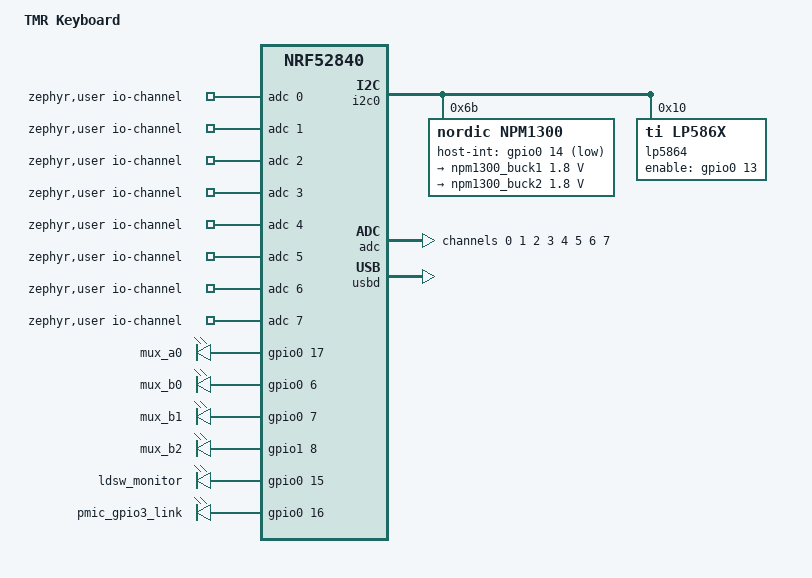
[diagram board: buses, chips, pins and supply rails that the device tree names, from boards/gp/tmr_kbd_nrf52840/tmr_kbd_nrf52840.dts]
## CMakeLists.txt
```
# > west build -b tmr_kbd_nrf52840
# > west flash

# 1. Minimum version of CMake required for Zephyr
cmake_minimum_required(VERSION 3.20.0)

# 2. Tell Zephyr where to find your custom board folder
# This allows the 'boards' directory in your project to be discovered
list(APPEND BOARD_ROOT ${CMAKE_CURRENT_SOURCE_DIR})

# 3. Find the Zephyr package (this loads the build system)
find_package(Zephyr REQUIRED HINTS $ENV{ZEPHYR_BASE})

# 4. Define your project
project(tmr_keyboard)

# 5. Add your source files
# Add main.c and any other .c files you've created (like mux_logic.c)
target_sources(app PRIVATE
    src/main.c
)
```

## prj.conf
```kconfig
# --- 1. General Settings ---
CONFIG_GPIO=y
CONFIG_SERIAL=y

# --- 2. Debugging (RTT instead of UART) ---
CONFIG_USE_SEGGER_RTT=y
CONFIG_RTT_CONSOLE=y
CONFIG_UART_CONSOLE=n
# Enable the shell over RTT for testing I2C/ADC manually
CONFIG_SHELL=y
CONFIG_SHELL_BACKEND_RTT=y

# --- 3. Analog Sensing (TMR Sensors) ---
CONFIG_ADC=y
CONFIG_ADC_NRFX_SAADC=y

# --- 4. I2C Bus (nPM1300 & LP5864) ---
CONFIG_I2C=y
CONFIG_I2C_NRFX=y

# --- 5. Power Management (nPM1300) ---
CONFIG_NRF_FUEL_GAUGE=y
CONFIG_MFD=y
CONFIG_NPM1300=y
CONFIG_REGULATOR=y
CONFIG_REGULATOR_NPM1300=y
# Enable charger support for battery monitoring via I2C
CONFIG_CHARGER=y

# --- 6. LED Support (LP5864) ---
CONFIG_LED=y
# Note: If you write manual I2C code for LP5864, you don't strictly need
# a specific LED driver config yet, but keeping LED=y helps for future drivers.

# --- 7. Zephyr Next Gen USB Support (For the Keyboard) ---
# CONFIG_USB_DEVICE_STACK_NEXT=y
# CONFIG_USBD_HID_SUPPORT=y

# CONFIG_LOG=y
# CONFIG_USBD_LOG_LEVEL_INF=y
# CONFIG_USBD_HID_LOG_LEVEL_WRN=y
# CONFIG_UDC_DRIVER_LOG_LEVEL_WRN=y
# CONFIG_SAMPLE_USBD_PID=0x0007
# CONFIG_SAMPLE_USBD_REMOTE_WAKEUP=y

# CONFIG_INPUT=y
# CONFIG_INPUT_MODE_SYNCHRONOUS=y
```

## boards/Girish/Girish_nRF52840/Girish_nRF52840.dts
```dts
/dts-v1/;
#include <nordic/nrf52840_qiaa.dtsi>
#include "Girish_nRF52840-pinctrl.dtsi"

/ {
	model = "TMR Keyboard";
	compatible = "Girish,Girish-nRF52840";

	chosen {
		zephyr,sram = &sram0;
		zephyr,flash = &flash0;
		zephyr,code-partition = &slot0_partition;
	};
};

&flash0 {
	partitions {
		compatible = "fixed-partitions";
		#address-cells = <1>;
		#size-cells = <1>;

		boot_partition: partition@0 {
			label = "mcuboot";
			reg = <0x00000000 DT_SIZE_K(48)>;
		};

		slot0_partition: partition@c000 {
			label = "image-0";
			reg = <0x0000c000 DT_SIZE_K(472)>;
		};

		slot1_partition: partition@82000 {
			label = "image-1";
			reg = <0x00082000 DT_SIZE_K(472)>;
		};

		storage_partition: partition@f8000 {
			label = "storage";
			reg = <0x000f8000 DT_SIZE_K(32)>;
		};
	};
};
```

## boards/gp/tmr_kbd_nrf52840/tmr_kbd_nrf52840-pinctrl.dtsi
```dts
/* TMR Keyboard Custom Pinctrl */

&pinctrl {
	i2c0_default: i2c0_default {
		group1 {
			psels = <NRF_PSEL(TWIM_SDA, 0, 12)>,
				<NRF_PSEL(TWIM_SCL, 0, 11)>;
			bias-pull-up; /* Internal pull-ups as backup to physical ones */
		};
	};

	i2c0_sleep: i2c0_sleep {
		group1 {
			psels = <NRF_PSEL(TWIM_SDA, 0, 12)>,
				<NRF_PSEL(TWIM_SCL, 0, 11)>;
			low-power-enable;
		};
	};
};
```

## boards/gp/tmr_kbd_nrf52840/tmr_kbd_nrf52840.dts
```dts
/dts-v1/;

#include <nordic/nrf52840_qiaa.dtsi>
#include <nordic/nrf52840_partition.dtsi>
#include "tmr_kbd_nrf52840-pinctrl.dtsi"
#include <dt-bindings/regulator/npm13xx.h>
/* Include keycode definitions */
#include <zephyr/dt-bindings/input/input-event-codes.h>

/ {
	model = "TMR Keyboard";
	compatible = "gp,tmr-kbd-nrf52840";

	chosen {
		/* Redirect console to Seggar RTT to save pins */
		zephyr,console = &snippet_rtt;
		zephyr,shell-uart = &snippet_rtt;
		zephyr,uart-mcumgr = &snippet_rtt;
	};

	/* Virtual RTT console node */
	snippet_rtt: snippet_rtt {
		compatible = "segger,rtt-uart";
	};
};

/ {
	/* Expose ADC inputs to application */
	zephyr,user {
		io-channels =
			<&adc 0>, /* ADC device, channel 0 */
			<&adc 1>,
			<&adc 2>,
			<&adc 3>,
			<&adc 4>,
			<&adc 5>,
			<&adc 6>,
			<&adc 7>;
	};

	/* This allows ADC to be referred as: DT_ALIAS(adc0), instead of knowing the full path */
	aliases {
		adc0 = &adc;
	};

	/* Define MUX control pins as a new group */
	mux_control {
		compatible = "gpio-leds"; /* generic gpio driver */
		mux_a0: mux_a0 {
			gpios = <&gpio0 17 GPIO_ACTIVE_HIGH>;
		};
		mux_b0: mux_b0 {
			gpios = <&gpio0 6 GPIO_ACTIVE_HIGH>;
		};
		mux_b1: mux_b1 {
			gpios = <&gpio0 7 GPIO_ACTIVE_HIGH>;
		};
		mux_b2: mux_b2 {
			gpios = <&gpio1 8 GPIO_ACTIVE_HIGH>;
		};
	};
};

/* Define the physical GPIO connection for the MUX-style signal if needed */
/ {
	npm_pins {
		compatible = "gpio-leds";
		/* P0.15 is physically wired to the output of LDSW1/GPIO2 */
		ldsw_monitor: ldsw_monitor {
			gpios = <&gpio0 15 GPIO_ACTIVE_HIGH>;
		};
		/* P0.16 is connected to GPIO3 of nPM1300 */
		pmic_gpio3_link: pmic_gpio3_link {
			gpios = <&gpio0 16 GPIO_ACTIVE_HIGH>;
		};
	};
};

/* Configure the I2C0 Bus and Peripherals */
&i2c0 {
	status = "okay";
	pinctrl-0 = <&i2c0_default>;
	pinctrl-1 = <&i2c0_sleep>;
	pinctrl-names = "default", "sleep";
	/* clock-frequency = <I2C_BITRATE_FAST>; */

	/* npm1300: pmic@48 { */
	npm1300: pmic@6b {
		compatible = "nordic,npm1300";
		reg = <0x6b>;
		/* INT (GPIO1) of nPM1300 connected to P0.14 */
		host-int-gpios = <&gpio0 14 GPIO_ACTIVE_LOW>;
		/* host-int-gpios = <&gpio0 14 GPIO_ACTIVE_HIGH>; */
		pmic-int-pin = <1>;

		npm1300_gpio: gpio-controller {
			compatible = "nordic,npm1300-gpio";
			gpio-controller;
			#gpio-cells = <2>;
			ngpios = <5>;
		};

		npm1300_regulators: regulators {
			compatible = "nordic,npm1300-regulator";

			/* Main MCU Power - Stays on, 1.8v*/
			npm1300_buck1: BUCK1 {
				regulator-min-microvolt = <1800000>;
				regulator-max-microvolt = <1800000>;
				regulator-boot-on;
				regulator-always-on;
			};

			/* TMR Sensor Power Source, 1.8v */
			npm1300_buck2: BUCK2 {
				regulator-min-microvolt = <1800000>;
				regulator-max-microvolt = <1800000>;
				regulator-always-on;
				regulator-boot-on;
			};

			/* The Load Switch (LDO1) controlled by GPIO2 */
			npm1300_ldsw1: LDO1 {
				regulator-initial-mode = <NPM13XX_LDSW_MODE_LDSW>;
				regulator-allowed-modes = <NPM13XX_LDSW_MODE_LDSW>;
				/* Link to GPIO2 internally */
				enable-gpio-config = <2 GPIO_ACTIVE_HIGH>;
				regulator-boot-off;
			};

			npm1300_ldsw2: LDO2 {
				status = "disabled";
			};
		};

		npm1300_charger: charger {
			compatible = "nordic,npm1300-charger";
			term-microvolt = <4150000>;     /* 4.15V max charge */
			term-warm-microvolt = <4000000>;
			current-microamp = <150000>;    /* 150mA default */
			dischg-limit-microamp = <1000000>;
			vbus-limit-microamp = <500000>;
			thermistor-ohms = <10000>;      /* Enabled NTC */
			thermistor-beta = <3380>;
			charging-enable;
		};
	};

	/* LED IC */
	lp5864: lp5864@10 {
		/* compatible = "i2c-device"; */
		compatible = "ti,lp586x"; /* Hypothetical binding name */
		reg = <0x10>;
		/* EN pin connected to P0.13 */
		enable-gpios = <&gpio0 13 GPIO_ACTIVE_HIGH>;
	};
};

/* Enable ADC for your TMR sensors */
&adc {
	#address-cells = <1>;
	#size-cells = <0>;
	status = "okay";

	channel@0 {
		reg = <0>;
		zephyr,gain = "ADC_GAIN_1";
		zephyr,reference = "ADC_REF_INTERNAL"; /* 0.6V internal ref */
		zephyr,acquisition-time = <ADC_ACQ_TIME_DEFAULT>;
		zephyr,input-positive = <NRF_SAADC_AIN0>; /* P0.02 */
		zephyr,resolution = <12>;
		/* optional oversampling: take 4 samples and average them (less noise, but adc stays on longer) */
		/* zephyr,oversampling = <4>; */
	};

	channel@1 {
		reg = <1>;
		zephyr,gain = "ADC_GAIN_1";
		zephyr,reference = "ADC_REF_INTERNAL";
		zephyr,acquisition-time = <ADC_ACQ_TIME_DEFAULT>;
		zephyr,input-positive = <NRF_SAADC_AIN1>; /* P0.03 */
		zephyr,resolution = <12>;
	};

	channel@2 {
		reg = <2>;
		zephyr,gain = "ADC_GAIN_1";
		zephyr,reference = "ADC_REF_INTERNAL";
		zephyr,acquisition-time = <ADC_ACQ_TIME_DEFAULT>;
		zephyr,input-positive = <NRF_SAADC_AIN2>; /* P0.04 */
		zephyr,resolution = <12>;
	};

	channel@3 {
		reg = <3>;
		zephyr,gain = "ADC_GAIN_1";
		zephyr,reference = "ADC_REF_INTERNAL";
		zephyr,acquisition-time = <ADC_ACQ_TIME_DEFAULT>;
		zephyr,input-positive = <NRF_SAADC_AIN3>; /* P0.05 */
		zephyr,resolution = <12>;
	};

	channel@4 {
		reg = <4>;
		zephyr,gain = "ADC_GAIN_1";
		zephyr,reference = "ADC_REF_INTERNAL";
		zephyr,acquisition-time = <ADC_ACQ_TIME_DEFAULT>;
		zephyr,input-positive = <NRF_SAADC_AIN4>; /* P0.28 */
		zephyr,resolution = <12>;
	};

	channel@5 {
		reg = <5>;
		zephyr,gain = "ADC_GAIN_1";
		zephyr,reference = "ADC_REF_INTERNAL";
		zephyr,acquisition-time = <ADC_ACQ_TIME_DEFAULT>;
		zephyr,input-positive = <NRF_SAADC_AIN5>; /* P0.29 */
		zephyr,resolution = <12>;
	};

	channel@6 {
		reg = <6>;
		zephyr,gain = "ADC_GAIN_1";
		zephyr,reference = "ADC_REF_INTERNAL";
		zephyr,acquisition-time = <ADC_ACQ_TIME_DEFAULT>;
		zephyr,input-positive = <NRF_SAADC_AIN6>; /* P0.30 */
		zephyr,resolution = <12>;
	};

	channel@7 {
		reg = <7>;
		zephyr,gain = "ADC_GAIN_1";
		zephyr,reference = "ADC_REF_INTERNAL";
		zephyr,acquisition-time = <ADC_ACQ_TIME_DEFAULT>;
		zephyr,input-positive = <NRF_SAADC_AIN7>; /* P0.31 */
		zephyr,resolution = <12>;
	};
};

/* Enable GPIO Ports */
&gpio0 {
	status = "okay";
};

&gpio1 {
	status = "okay";
};

/* Disable everything you aren't using to save power/resources */
&uart0 { status = "disabled"; };
&uart1 { status = "disabled"; };
&i2c1 { status = "disabled"; };
&spi0 { status = "disabled"; };
&spi1 { status = "disabled"; };
&spi2 { status = "disabled"; };
&pwm0 { status = "disabled"; };
&qspi { status = "disabled"; };

/* Keep USB enabled for the keyboard connection */
zephyr_udc0: &usbd {
	status = "okay";
};
```

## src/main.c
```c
#include <stdio.h>

/* GPIO specs for Bank A */
static const struct gpio_dt_spec mux_a[] = {
	GPIO_DT_SPEC_GET(DT_NODELABEL(mux_a0), gpios),
};

/* GPIO specs for Bank B */
static const struct gpio_dt_spec mux_b[] = {
	GPIO_DT_SPEC_GET(DT_NODELABEL(mux_b0), gpios),
	GPIO_DT_SPEC_GET(DT_NODELABEL(mux_b1), gpios),
	GPIO_DT_SPEC_GET(DT_NODELABEL(mux_b2), gpios),
};

void init_muxes(void) {
	gpio_pin_configure_dt(&mux_a[0], GPIO_OUTPUT_INACTIVE);
	for (int i = 0; i < 3; i++) {
		gpio_pin_configure_dt(&mux_b[i], GPIO_OUTPUT_INACTIVE);
	}
}

void set_bank_b_address(uint8_t addr) {
	for (int i = 0; i < 3; i++) {
		gpio_pin_set_dt(&mux_b[i], (addr >> i) & 1);
	}
}

int main(void)
{
	printf("Hello World! %s\n", CONFIG_BOARD_TARGET);

	return 0;
}

# if 0
Optimized C Code for 5ms Scanning
Since you're using enable-gpio-config = <2 ...>, the nPM1300 driver handles the GPIO2 work behind the scenes when you call the regulator API.

#include <zephyr/drivers/regulator.h>

const struct device *tmr_pwr = DEVICE_DT_GET(DT_NODELABEL(npm1300_ldsw1));

void scan_matrix(void) {
    // 1. Flip the switch (GPIO2 goes high internally)
    regulator_enable(tmr_pwr);

    // 2. Very short stabilization wait (Load switch is fast!)
    k_busy_wait(100); // 100 microseconds is usually plenty for LDSW

    // 3. Run your ADC scan logic
    read_all_tmr_sensors();

    // 4. Kill the power to the sensors immediately
    regulator_disable(tmr_pwr);
}
#endif
```

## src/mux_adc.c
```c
#include <zephyr/kernel.h>
#include <zephyr/drivers/gpio.h>
#include <zephyr/drivers/adc.h>

/* Define the MUX address pins from your DeviceTree */
static const struct gpio_dt_spec mux_b0 = GPIO_DT_SPEC_GET(DT_NODELABEL(mux_b0), gpios);
static const struct gpio_dt_spec mux_b1 = GPIO_DT_SPEC_GET(DT_NODELABEL(mux_b1), gpios);
static const struct gpio_dt_spec mux_b2 = GPIO_DT_SPEC_GET(DT_NODELABEL(mux_b2), gpios);

/* Define the ADC device */
static const struct device *adc_dev = DEVICE_DT_GET(DT_NODELABEL(adc));

#define ADC_RESOLUTION 12
#define ADC_CHANNEL_COUNT 8

// Buffer to store one full "sweep" of 8 sensors across 8 ADC pins
static int16_t sample_buffer[ADC_CHANNEL_COUNT];

void set_mux_address(uint8_t addr) {
    gpio_pin_set_dt(&mux_b0, (addr >> 0) & 1);
    gpio_pin_set_dt(&mux_b1, (addr >> 1) & 1);
    gpio_pin_set_dt(&mux_b2, (addr >> 2) & 1);
    // TMR sensors are fast, but MUXes need a tiny bit of time to settle
    k_busy_wait(10); 
}

void read_all_tmr_sensors() {
    for (uint8_t mux_addr = 0; mux_addr < 8; mux_addr++) {
        set_mux_address(mux_addr);

        for (uint8_t adc_ch = 0; adc_ch < ADC_CHANNEL_COUNT; adc_ch++) {
            struct adc_sequence sequence = {
                .channels    = BIT(adc_ch),
                .buffer      = &sample_buffer[adc_ch],
                .buffer_size = sizeof(sample_buffer[adc_ch]),
                .resolution  = ADC_RESOLUTION,
            };

            int err = adc_read(adc_dev, &sequence);
            if (err) {
                printk("ADC read failed: %d\n", err);
            }
        }
        // At this point, sample_buffer contains data for 8 sensors 
        // at the current MUX address. Process them here!
    }
}
```
